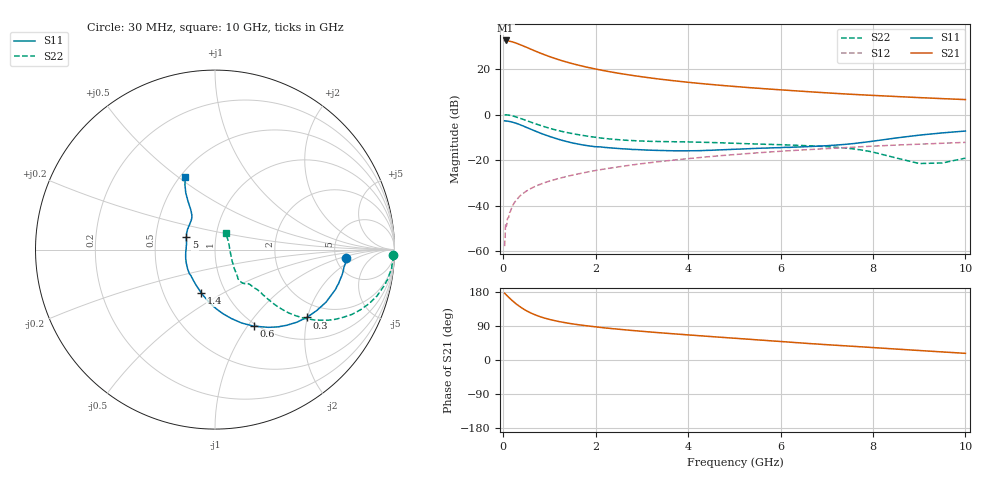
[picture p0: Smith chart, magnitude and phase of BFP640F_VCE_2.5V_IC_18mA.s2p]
! Infineon Technologies  Discrete & RF Semiconductors
! BFP640F
! VCE =  2.5 V,  IC =  18 mA
! Common Emitter S-Parameters:  Apr 2013
# GHz  S  MA  R  50
!  f  S11  S21  S12  S22
! GHz  MAG  ANG  MAG  ANG  MAG  ANG  MAG  ANG
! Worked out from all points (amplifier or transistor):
!   99 points, 30 MHz to 10 GHz, reference 50 ohm
!   highest |S21| = 32.6 dB at 50 MHz (marker M1)
!   |S21| within 3 dB of that: start of sweep to 503.4 MHz
!   unconditionally stable (mu >= 1): 2.348 GHz to end of sweep
!   at 350 MHz: K = 0.32, MSG = 33.4 dB, |S12| = -35.9 dB
!   at 3.5 GHz: K = 1.05, MAG = 16.5 dB, |S12| = -20.3 dB
!   at 10 GHz: K = 1.05, MAG = 8.0 dB, |S12| = -12.2 dB
!   S11 on the Smith chart (normalised r, x): 30 MHz: 6.19, -1.29; 300 MHz: 1.56, -1.98; 600 MHz: 0.97, -1.07; 1.4 GHz: 0.77, -0.40; 5 GHz: 0.72, +0.10; 10 GHz: 0.53, +0.53
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0.03  0.7321 -3.8  42.06 176.3  0.0013 83.6  0.991 -1.9
0.05  0.73 -6.4  42.48 173.9  0.0041 83.9  0.9949 -3.9
0.13  0.7095 -16.7  41.06 164.1  0.0068 85.1  0.9713 -10.5
0.2  0.6845 -25.3  39.45 156.3  0.01 80.0  0.9386 -16.0
0.3  0.6358 -36.5  36.5 146.2  0.0139 77.3  0.8771 -22.5
0.4  0.5811 -46.5  33.28 137.5  0.0178 73.6  0.8082 -27.8
0.45  0.555 -50.9  31.64 133.7  0.0193 71.4  0.7762 -30.0
0.5  0.5262 -55.4  30.17 130.1  0.021 71.2  0.744 -31.9
0.6  0.4774 -63.3  27.26 123.9  0.024 70.1  0.6831 -35.1
0.7  0.4341 -70.2  24.69 118.7  0.027 68.4  0.6295 -37.5
0.8  0.3945 -76.7  22.45 114.2  0.0296 67.5  0.5822 -39.3
0.9  0.3615 -82.6  20.52 110.4  0.0323 67.0  0.5405 -40.7
1.1  0.3091 -93.2  17.35 104.3  0.0372 66.4  0.4719 -42.3
1.4  0.2534 -107.5  14 97.2  0.0448 65.7  0.4017 -43.1
1.7  0.2184 -120.7  11.7 91.9  0.052 65.2  0.3527 -43.1
2.4  0.184 -147.1  8.414 82.3  0.0692 63.3  0.2871 -44.7
3.4  0.1638 -174.8  6.001 71.8  0.0938 59.7  0.2569 -47.3
5  0.174 156.5  4.159 57.5  0.133 52.4  0.2355 -51.0
5.1  0.1753 155.1  4.084 56.6  0.1354 51.9  0.2337 -51.2
6.7  0.201 134.0  3.145 42.8  0.173 43.3  0.2054 -51.6
8.5  0.3077 119.2  2.501 28.9  0.215 33.3  0.1122 -32.7
10  0.437 112.2  2.141 17.6  0.2464 24.7  0.1112 57.9
